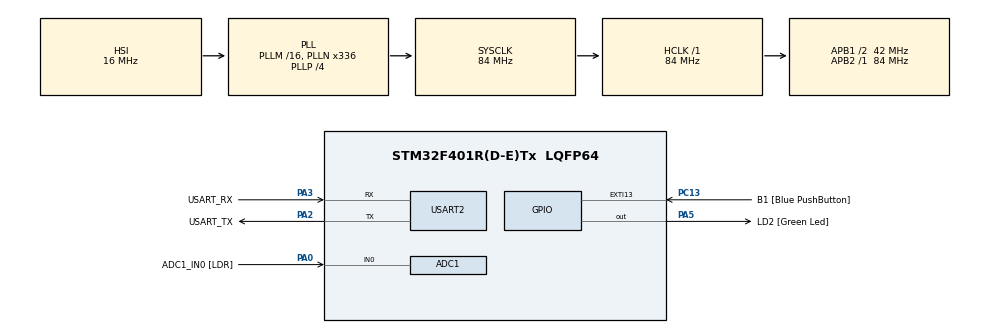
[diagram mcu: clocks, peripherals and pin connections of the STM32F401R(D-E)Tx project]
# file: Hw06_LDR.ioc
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ADC1.Channel-0\#ChannelRegularConversion=ADC_CHANNEL_0
ADC1.DMAContinuousRequests=ENABLE
ADC1.ExternalTrigConv=ADC_EXTERNALTRIGCONV_T2_TRGO
ADC1.NbrOfConversionFlag=1
ADC1.Rank-0\#ChannelRegularConversion=1
ADC1.SamplingTime-0\#ChannelRegularConversion=ADC_SAMPLETIME_480CYCLES
ADC1.master=1
Dma.ADC1.0.Direction=DMA_PERIPH_TO_MEMORY
Dma.ADC1.0.FIFOMode=DMA_FIFOMODE_DISABLE
Dma.ADC1.0.Instance=DMA2_Stream0
Dma.ADC1.0.MemDataAlignment=DMA_MDATAALIGN_HALFWORD
Dma.ADC1.0.MemInc=DMA_MINC_ENABLE
Dma.ADC1.0.Mode=DMA_CIRCULAR
Dma.ADC1.0.PeriphDataAlignment=DMA_PDATAALIGN_HALFWORD
Dma.ADC1.0.PeriphInc=DMA_PINC_DISABLE
Dma.ADC1.0.Priority=DMA_PRIORITY_LOW
Dma.Request0=ADC1
Dma.Request1=USART2_TX
Dma.USART2_TX.1.Direction=DMA_MEMORY_TO_PERIPH
Dma.USART2_TX.1.FIFOMode=DMA_FIFOMODE_DISABLE
Dma.USART2_TX.1.Instance=DMA1_Stream6
Dma.USART2_TX.1.MemDataAlignment=DMA_MDATAALIGN_BYTE
Dma.USART2_TX.1.MemInc=DMA_MINC_ENABLE
Dma.USART2_TX.1.Mode=DMA_NORMAL
Dma.USART2_TX.1.PeriphDataAlignment=DMA_PDATAALIGN_BYTE
Dma.USART2_TX.1.PeriphInc=DMA_PINC_DISABLE
Dma.USART2_TX.1.Priority=DMA_PRIORITY_LOW
Mcu.Family=STM32F4
Mcu.Name=STM32F401R(D-E)Tx
Mcu.Package=LQFP64
NVIC.DMA1_Stream6_IRQn=true\:0\:0\:false\:false\:true\:false\:true\:true
NVIC.DMA2_Stream0_IRQn=true\:0\:0\:false\:false\:true\:false\:true\:true
NVIC.PriorityGroup=NVIC_PRIORITYGROUP_4
NVIC.USART2_IRQn=true\:0\:0\:false\:false\:true\:true\:true\:true
PA0-WKUP.GPIO_Label=ADC1_IN0 [LDR]
PA0-WKUP.Signal=ADCx_IN0
PA13.GPIO_Label=TMS
PA13.Mode=Trace_Asynchronous_SW
PA13.Signal=SYS_JTMS-SWDIO
PA14.GPIO_Label=TCK
PA14.Mode=Trace_Asynchronous_SW
PA14.Signal=SYS_JTCK-SWCLK
PA2.GPIO_Label=USART_TX
PA2.GPIO_Mode=GPIO_MODE_AF_PP
PA2.GPIO_PuPd=GPIO_NOPULL
PA2.GPIO_Speed=GPIO_SPEED_FREQ_LOW
PA2.Mode=Asynchronous
PA2.Signal=USART2_TX
PA3.GPIO_Label=USART_RX
PA3.GPIO_Mode=GPIO_MODE_AF_PP
PA3.GPIO_PuPd=GPIO_NOPULL
PA3.GPIO_Speed=GPIO_SPEED_FREQ_LOW
PA3.Mode=Asynchronous
PA3.Signal=USART2_RX
PA5.GPIO_Label=LD2 [Green Led]
PA5.GPIO_Mode=GPIO_MODE_OUTPUT_PP
PA5.GPIO_PuPd=GPIO_NOPULL
PA5.GPIO_Speed=GPIO_SPEED_FREQ_LOW
PA5.Signal=GPIO_Output
PB3.GPIO_Label=SWO
PB3.Mode=Trace_Asynchronous_SW
PB3.Signal=SYS_JTDO-SWO
PC13-ANTI_TAMP.GPIO_Label=B1 [Blue PushButton]
PC13-ANTI_TAMP.GPIO_ModeDefaultEXTI=GPIO_MODE_IT_FALLING
PC13-ANTI_TAMP.GPIO_PuPd=GPIO_NOPULL
PC13-ANTI_TAMP.Signal=GPXTI13
PC14-OSC32_IN.Mode=LSE-External-Oscillator
PC14-OSC32_IN.Signal=RCC_OSC32_IN
PC15-OSC32_OUT.Mode=LSE-External-Oscillator
PC15-OSC32_OUT.Signal=RCC_OSC32_OUT
PH0\ -\ OSC_IN.Mode=HSE-External-Clock-Source
PH0\ -\ OSC_IN.Signal=RCC_OSC_IN
PH1\ -\ OSC_OUT.Mode=HSE-External-Clock-Source
PH1\ -\ OSC_OUT.Signal=RCC_OSC_OUT
ProjectManager.HeapSize=0x200
ProjectManager.StackSize=0x400
ProjectManager.TargetToolchain=STM32CubeIDE
RCC.48MHZClocksFreq_Value=48000000
RCC.AHBFreq_Value=84000000
RCC.APB1CLKDivider=RCC_HCLK_DIV2
RCC.APB1Freq_Value=42000000
RCC.APB1TimFreq_Value=84000000
RCC.APB2Freq_Value=84000000
RCC.APB2TimFreq_Value=84000000
RCC.CortexFreq_Value=84000000
RCC.HCLKFreq_Value=84000000
RCC.HSE_VALUE=8000000
RCC.HSI_VALUE=16000000
RCC.PLLN=336
RCC.PLLP=RCC_PLLP_DIV4
RCC.PLLQ=7
RCC.SYSCLKFreq_VALUE=84000000
RCC.SYSCLKSource=RCC_SYSCLKSOURCE_PLLCLK
RCC.VCOOutputFreq_Value=336000000
SH.ADCx_IN0.0=ADC1_IN0,IN0
TIM2.Period=99
TIM2.Prescaler=839
TIM2.TIM_MasterOutputTrigger=TIM_TRGO_UPDATE
USART2.VirtualMode=VM_ASYNC
VP_TIM2_VS_ClockSourceINT.Mode=Internal
board=NUCLEO-F401RE

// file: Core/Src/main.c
/* USER CODE BEGIN Header */
/**
  ******************************************************************************
  * @file           : main.c
  * @brief          : Main program body
  ******************************************************************************
  * @attention
  *
  * Copyright (c) 2025 STMicroelectronics.
  * All rights reserved.
  *
  * This software is licensed under terms that can be found in the LICENSE file
  * in the root directory of this software component.
  * If no LICENSE file comes with this software, it is provided AS-IS.
  *
  ******************************************************************************
  */
/* USER CODE END Header */
#include "main.h"

/* USER CODE BEGIN Includes */
#include "stdio.h"
#include "math.h"
/* USER CODE END Includes */

ADC_HandleTypeDef hadc1;
DMA_HandleTypeDef hdma_adc1;

TIM_HandleTypeDef htim2;

UART_HandleTypeDef huart2;
DMA_HandleTypeDef hdma_usart2_tx;

/* USER CODE BEGIN PV */
uint16_t adc_dma_buffer[1000];
float first_half_resistance_avg;
char string[32];
/* USER CODE END PV */

void SystemClock_Config(void);
static void MX_GPIO_Init(void);
static void MX_DMA_Init(void);
static void MX_USART2_UART_Init(void);
static void MX_ADC1_Init(void);
static void MX_TIM2_Init(void);

/* USER CODE BEGIN 0 */
void HAL_ADC_ConvHalfCpltCallback(ADC_HandleTypeDef* hadc) {
    uint32_t sum = 0;
    for (int i = 0; i < 500; i++) {
        sum += adc_dma_buffer[i];
    }
    float average_adc = sum / 500;
    float voltage = average_adc * 3.3 / 4095;
    first_half_resistance_avg = (voltage * 100000) / (3.3 - voltage);
}

void HAL_ADC_ConvCpltCallback(ADC_HandleTypeDef* hadc) {
    uint32_t sum = 0;
    for (int i = 500; i < 1000; i++) {
        sum += adc_dma_buffer[i];
    }
    float average_adc = sum / 500;
    float voltage = average_adc * 3.3 / 4095;
    float second_half_resistance_avg = (voltage * 100000) / (3.3 - voltage);

    float resistance_avg = (first_half_resistance_avg + second_half_resistance_avg) / 2;
    float lux = pow(10 * (100000 / resistance_avg), 1.25);

    int length = snprintf(string, sizeof(string), "LUX: %.2f\n\n", lux);
    HAL_UART_Transmit_DMA(&huart2, (uint8_t *)string, length);
}
/* USER CODE END 0 */

int main(void)
{

  /* MCU Configuration--------------------------------------------------------*/

  /* Reset of all peripherals, Initializes the Flash interface and the Systick. */
  HAL_Init();

  /* Configure the system clock */
  SystemClock_Config();

  /* Initialize all configured peripherals */
  MX_GPIO_Init();
  MX_DMA_Init();
  MX_USART2_UART_Init();
  MX_ADC1_Init();
  MX_TIM2_Init();
  /* USER CODE BEGIN 2 */
  HAL_ADC_Start_DMA(&hadc1, adc_dma_buffer, 1000);
  HAL_TIM_Base_Start(&htim2);
  /* USER CODE END 2 */

  /* Infinite loop */
  while (1)
  {

  }
}

void SystemClock_Config(void)
{
  RCC_OscInitTypeDef RCC_OscInitStruct = {0};
  RCC_ClkInitTypeDef RCC_ClkInitStruct = {0};

  /** Configure the main internal regulator output voltage
  */
  __HAL_RCC_PWR_CLK_ENABLE();
  __HAL_PWR_VOLTAGESCALING_CONFIG(PWR_REGULATOR_VOLTAGE_SCALE2);

  /** Initializes the RCC Oscillators according to the specified parameters
  * in the RCC_OscInitTypeDef structure.
  */
  RCC_OscInitStruct.OscillatorType = RCC_OSCILLATORTYPE_HSI;
  RCC_OscInitStruct.HSIState = RCC_HSI_ON;
  RCC_OscInitStruct.HSICalibrationValue = RCC_HSICALIBRATION_DEFAULT;
  RCC_OscInitStruct.PLL.PLLState = RCC_PLL_ON;
  RCC_OscInitStruct.PLL.PLLSource = RCC_PLLSOURCE_HSI;
  RCC_OscInitStruct.PLL.PLLM = 16;
  RCC_OscInitStruct.PLL.PLLN = 336;
  RCC_OscInitStruct.PLL.PLLP = RCC_PLLP_DIV4;
  RCC_OscInitStruct.PLL.PLLQ = 7;
  if (HAL_RCC_OscConfig(&RCC_OscInitStruct) != HAL_OK)
  {
    Error_Handler();
  }

  /** Initializes the CPU, AHB and APB buses clocks
  */
  RCC_ClkInitStruct.ClockType = RCC_CLOCKTYPE_HCLK|RCC_CLOCKTYPE_SYSCLK
                              |RCC_CLOCKTYPE_PCLK1|RCC_CLOCKTYPE_PCLK2;
  RCC_ClkInitStruct.SYSCLKSource = RCC_SYSCLKSOURCE_PLLCLK;
  RCC_ClkInitStruct.AHBCLKDivider = RCC_SYSCLK_DIV1;
  RCC_ClkInitStruct.APB1CLKDivider = RCC_HCLK_DIV2;
  RCC_ClkInitStruct.APB2CLKDivider = RCC_HCLK_DIV1;

  if (HAL_RCC_ClockConfig(&RCC_ClkInitStruct, FLASH_LATENCY_2) != HAL_OK)
  {
    Error_Handler();
  }
}

static void MX_ADC1_Init(void)
{

  ADC_ChannelConfTypeDef sConfig = {0};

  /** Configure the global features of the ADC (Clock, Resolution, Data Alignment and number of conversion)
  */
  hadc1.Instance = ADC1;
  hadc1.Init.ClockPrescaler = ADC_CLOCK_SYNC_PCLK_DIV4;
  hadc1.Init.Resolution = ADC_RESOLUTION_12B;
  hadc1.Init.ScanConvMode = DISABLE;
  hadc1.Init.ContinuousConvMode = DISABLE;
  hadc1.Init.DiscontinuousConvMode = DISABLE;
  hadc1.Init.ExternalTrigConvEdge = ADC_EXTERNALTRIGCONVEDGE_RISING;
  hadc1.Init.ExternalTrigConv = ADC_EXTERNALTRIGCONV_T2_TRGO;
  hadc1.Init.DataAlign = ADC_DATAALIGN_RIGHT;
  hadc1.Init.NbrOfConversion = 1;
  hadc1.Init.DMAContinuousRequests = ENABLE;
  hadc1.Init.EOCSelection = ADC_EOC_SINGLE_CONV;
  if (HAL_ADC_Init(&hadc1) != HAL_OK)
  {
    Error_Handler();
  }

  /** Configure for the selected ADC regular channel its corresponding rank in the sequencer and its sample time.
  */
  sConfig.Channel = ADC_CHANNEL_0;
  sConfig.Rank = 1;
  sConfig.SamplingTime = ADC_SAMPLETIME_480CYCLES;
  if (HAL_ADC_ConfigChannel(&hadc1, &sConfig) != HAL_OK)
  {
    Error_Handler();
  }

}

static void MX_TIM2_Init(void)
{

  TIM_ClockConfigTypeDef sClockSourceConfig = {0};
  TIM_MasterConfigTypeDef sMasterConfig = {0};

  htim2.Instance = TIM2;
  htim2.Init.Prescaler = 839;
  htim2.Init.CounterMode = TIM_COUNTERMODE_UP;
  htim2.Init.Period = 99;
  htim2.Init.ClockDivision = TIM_CLOCKDIVISION_DIV1;
  htim2.Init.AutoReloadPreload = TIM_AUTORELOAD_PRELOAD_DISABLE;
  if (HAL_TIM_Base_Init(&htim2) != HAL_OK)
  {
    Error_Handler();
  }
  sClockSourceConfig.ClockSource = TIM_CLOCKSOURCE_INTERNAL;
  if (HAL_TIM_ConfigClockSource(&htim2, &sClockSourceConfig) != HAL_OK)
  {
    Error_Handler();
  }
  sMasterConfig.MasterOutputTrigger = TIM_TRGO_UPDATE;
  sMasterConfig.MasterSlaveMode = TIM_MASTERSLAVEMODE_DISABLE;
  if (HAL_TIMEx_MasterConfigSynchronization(&htim2, &sMasterConfig) != HAL_OK)
  {
    Error_Handler();
  }

}

static void MX_USART2_UART_Init(void)
{

  huart2.Instance = USART2;
  huart2.Init.BaudRate = 115200;
  huart2.Init.WordLength = UART_WORDLENGTH_8B;
  huart2.Init.StopBits = UART_STOPBITS_1;
  huart2.Init.Parity = UART_PARITY_NONE;
  huart2.Init.Mode = UART_MODE_TX_RX;
  huart2.Init.HwFlowCtl = UART_HWCONTROL_NONE;
  huart2.Init.OverSampling = UART_OVERSAMPLING_16;
  if (HAL_UART_Init(&huart2) != HAL_OK)
  {
    Error_Handler();
  }

}

static void MX_DMA_Init(void)
{

  /* DMA controller clock enable */
  __HAL_RCC_DMA2_CLK_ENABLE();
  __HAL_RCC_DMA1_CLK_ENABLE();

  /* DMA interrupt init */
  /* DMA1_Stream6_IRQn interrupt configuration */
  HAL_NVIC_SetPriority(DMA1_Stream6_IRQn, 0, 0);
  HAL_NVIC_EnableIRQ(DMA1_Stream6_IRQn);
  /* DMA2_Stream0_IRQn interrupt configuration */
  HAL_NVIC_SetPriority(DMA2_Stream0_IRQn, 0, 0);
  HAL_NVIC_EnableIRQ(DMA2_Stream0_IRQn);

}

static void MX_GPIO_Init(void)
{
  GPIO_InitTypeDef GPIO_InitStruct = {0};

  /* GPIO Ports Clock Enable */
  __HAL_RCC_GPIOC_CLK_ENABLE();
  __HAL_RCC_GPIOH_CLK_ENABLE();
  __HAL_RCC_GPIOA_CLK_ENABLE();
  __HAL_RCC_GPIOB_CLK_ENABLE();

  /*Configure GPIO pin Output Level */
  HAL_GPIO_WritePin(LD2_GPIO_Port, LD2_Pin, GPIO_PIN_RESET);

  /*Configure GPIO pin : B1_Pin */
  GPIO_InitStruct.Pin = B1_Pin;
  GPIO_InitStruct.Mode = GPIO_MODE_IT_FALLING;
  GPIO_InitStruct.Pull = GPIO_NOPULL;
  HAL_GPIO_Init(B1_GPIO_Port, &GPIO_InitStruct);

  /*Configure GPIO pin : LD2_Pin */
  GPIO_InitStruct.Pin = LD2_Pin;
  GPIO_InitStruct.Mode = GPIO_MODE_OUTPUT_PP;
  GPIO_InitStruct.Pull = GPIO_NOPULL;
  GPIO_InitStruct.Speed = GPIO_SPEED_FREQ_LOW;
  HAL_GPIO_Init(LD2_GPIO_Port, &GPIO_InitStruct);

}

void Error_Handler(void)
{
  __disable_irq();
  while (1)
  {
  }
}
